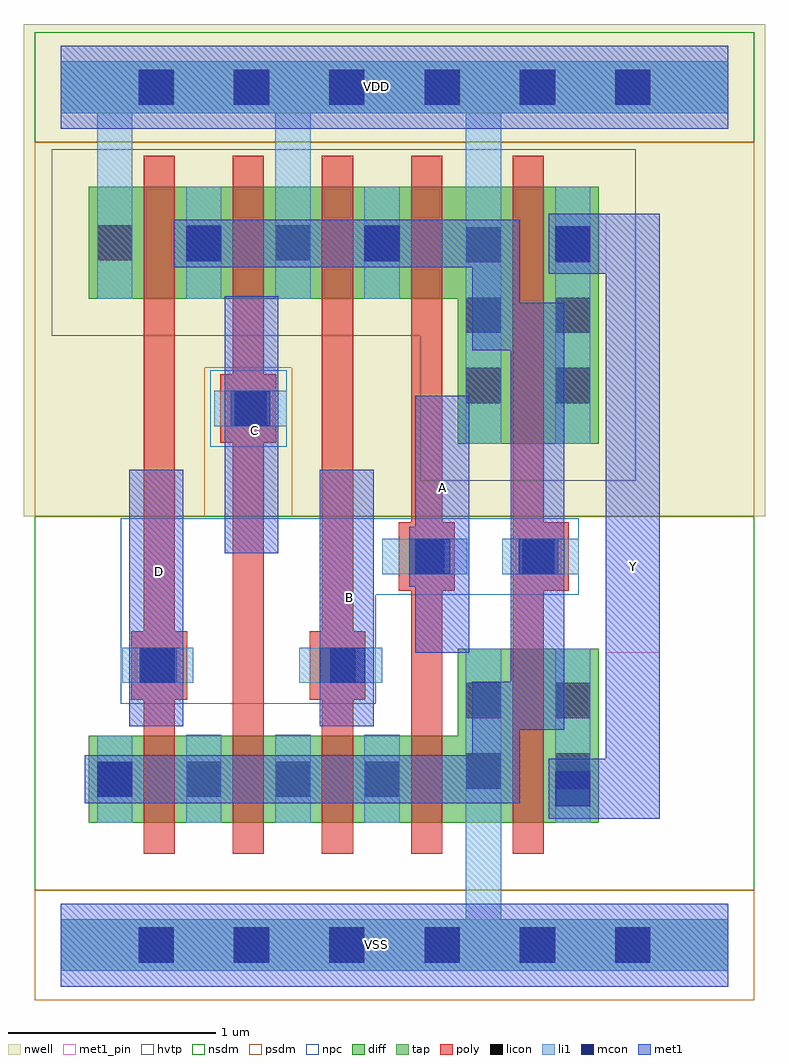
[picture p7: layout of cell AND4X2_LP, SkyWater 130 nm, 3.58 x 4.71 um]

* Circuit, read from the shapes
.subckt AND4X2_LP A B C D VDD VSS Y
XM1 n1 D n2 VSS sky130_fd_pr__nfet_01v8 w=0.42 l=0.15
XM2 n3 C n1 VSS sky130_fd_pr__nfet_01v8 w=0.42 l=0.15
XM3 n4 B n3 VSS sky130_fd_pr__nfet_01v8 w=0.42 l=0.15
XM4 VSS A n4 VSS sky130_fd_pr__nfet_01v8 w=0.42 l=0.15
XM5 Y n2 VSS VSS sky130_fd_pr__nfet_01v8 w=0.84 l=0.15
XM6 n2 D VDD VDD sky130_fd_pr__pfet_01v8_hvt w=0.54 l=0.15
XM7 VDD C n2 VDD sky130_fd_pr__pfet_01v8_hvt w=0.54 l=0.15
XM8 n2 B VDD VDD sky130_fd_pr__pfet_01v8_hvt w=0.54 l=0.15
XM9 VDD A n2 VDD sky130_fd_pr__pfet_01v8_hvt w=0.54 l=0.15
XM10 Y n2 VDD VDD sky130_fd_pr__pfet_01v8_hvt w=1.24 l=0.15
.ends

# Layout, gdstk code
from math import pi, radians
import gdstk
lib = gdstk.Library(unit=1e-6, precision=1e-09)
def R(c, l, rs):  # rectangles x0, y0, x1, y1
    for r in rs: c.add(gdstk.rectangle(r[:2], r[2:], *l))
def A(c, l, x, y, w, h, nx, ny, dx, dy):  # array of equal rectangles
    R(c, l, [(x+i*dx, y+j*dy, x+i*dx+w, y+j*dy+h) for i in range(nx) for j in range(ny)])
def P(c, l, *ps):  # polygons
    for p in ps: c.add(gdstk.Polygon(p, *l))
nwell = (64, 20)
diff = (65, 20)
tap = (65, 44)
poly = (66, 20)
licon = (66, 44)
li1 = (67, 20)
mcon = (67, 44)
met1_pin = (68, 16)
met1 = (68, 20)
hvtp = (78, 44)
nsdm = (93, 44)
psdm = (94, 20)
npc = (95, 20)

l1m1_c_cdns_750721840979 = lib.new_cell('L1M1_C_CDNS_750721840979')
R(l1m1_c_cdns_750721840979, li1, [(-0.165,-0.085,0.165,0.085)])
R(l1m1_c_cdns_750721840979, mcon, [(-0.085,-0.085,0.085,0.085)])
R(l1m1_c_cdns_750721840979, met1, [(-0.085,-0.115,0.085,0.115)])

l1m1_c_cdns_750721840971 = lib.new_cell('L1M1_C_CDNS_7507218409710')
R(l1m1_c_cdns_750721840971, li1, [(-0.085,-0.165,0.085,0.165)])
R(l1m1_c_cdns_750721840971, mcon, [(-0.085,-0.085,0.085,0.085)])
R(l1m1_c_cdns_750721840971, met1, [(-0.145,-0.115,0.145,0.115)])

c_l1m1_c_cdns_750721840971 = lib.new_cell('L1M1_C_CDNS_750721840971')
R(c_l1m1_c_cdns_750721840971, li1, [(-0.085,-0.165,0.085,0.165)])
R(c_l1m1_c_cdns_750721840971, mcon, [(-0.085,-0.085,0.085,0.085)])
R(c_l1m1_c_cdns_750721840971, met1, [(-0.115,-0.145,0.115,0.145)])

pyl1con_c_cdns_750721840 = lib.new_cell('PYL1CON_C_CDNS_750721840972')
R(pyl1con_c_cdns_750721840, poly, [(-0.135,-0.165,0.135,0.165)])
R(pyl1con_c_cdns_750721840, licon, [(-0.085,-0.085,0.085,0.085)])
R(pyl1con_c_cdns_750721840, npc, [(-0.185,-0.185,0.185,0.185)])

l1m1_c_cdns_750721840973 = lib.new_cell('L1M1_C_CDNS_750721840973')
R(l1m1_c_cdns_750721840973, li1, [(-0.165,-0.085,0.165,0.085)])
R(l1m1_c_cdns_750721840973, mcon, [(-0.085,-0.085,0.085,0.085)])
R(l1m1_c_cdns_750721840973, met1, [(-0.115,-0.145,0.115,0.145)])

and4x2_lp = lib.new_cell('AND4X2_LP')
R(and4x2_lp, nwell, [(-0.18,2.07,3.4,4.305), (1.735,2.24,2.775,3.84), (-0.045,2.94,0.785,3.84), (0.425,2.94,1.215,3.84), (0.855,2.94,1.645,3.84), (1.285,2.94,2.095,3.84), (-0.18,3.875,3.4,4.445)])
A(and4x2_lp, diff, 0.4, 0.59, 0.15, 0.42, 4, 1, 0.43, 0)
A(and4x2_lp, diff, 0.55, 0.59, 0.055, 0.42, 3, 1, 0.43, 0)
A(and4x2_lp, diff, 0.605, 0.59, 0.225, 0.42, 3, 1, 0.43, 0)
A(and4x2_lp, diff, 0.4, 3.12, 0.15, 0.54, 4, 1, 0.43, 0)
A(and4x2_lp, diff, 0.55, 3.12, 0.055, 0.54, 3, 1, 0.43, 0)
A(and4x2_lp, diff, 0.605, 3.12, 0.225, 0.54, 3, 1, 0.43, 0)
R(and4x2_lp, diff, [(0.135,0.59,0.4,1.01), (1.84,0.59,1.915,1.01), (1.915,0.59,2.18,1.43), (2.18,0.59,2.33,1.43), (2.33,0.59,2.595,1.43), (1.915,2.42,2.18,3.66), (2.18,2.42,2.33,3.66), (2.33,2.42,2.595,3.66), (0.135,3.12,0.4,3.66), (1.84,3.12,1.915,3.66)])
A(and4x2_lp, poly, 0.4, 0.44, 0.15, 0.055, 4, 2, 0.43, 0.665)
A(and4x2_lp, poly, 0.4, 0.495, 0.15, 0.095, 4, 2, 0.43, 0.515)
A(and4x2_lp, poly, 0.4, 0.59, 0.15, 0.42, 4, 1, 0.43, 0)
A(and4x2_lp, poly, 0.4, 2.97, 0.15, 0.055, 4, 2, 0.43, 0.785)
A(and4x2_lp, poly, 0.4, 3.025, 0.15, 0.095, 4, 2, 0.43, 0.635)
A(and4x2_lp, poly, 0.4, 3.12, 0.15, 0.54, 4, 1, 0.43, 0)
R(and4x2_lp, poly, [(2.18,0.44,2.33,0.495), (2.18,0.495,2.33,0.59), (2.18,0.59,2.33,1.43), (2.18,1.43,2.33,1.525), (2.18,1.525,2.33,1.58), (2.18,2.27,2.33,2.325), (2.18,2.325,2.33,2.42), (2.18,2.42,2.33,3.66), (2.18,3.66,2.33,3.755), (2.18,3.755,2.33,3.81)])
A(and4x2_lp, licon, 0.375, -0.085, 0.17, 0.17, 6, 2, 0.46, 4.14)
A(and4x2_lp, licon, 1.955, 2.615, 0.17, 0.17, 1, 3, 0, 0.34)
A(and4x2_lp, licon, 2.385, 2.615, 0.17, 0.17, 1, 3, 0, 0.34)
A(and4x2_lp, licon, 0.175, 3.305, 0.17, 0.17, 4, 1, 0.43, 0)
R(and4x2_lp, licon, [(0.175,0.715,0.345,0.885), (1.955,0.755,2.125,0.925), (2.385,0.755,2.555,0.925), (1.955,1.095,2.125,1.265), (2.385,1.095,2.555,1.265)])
A(and4x2_lp, li1, 0.175, 3.12, 0.17, 0.54, 4, 1, 0.43, 0)
R(and4x2_lp, li1, [(0.175,0.59,0.345,1.01), (1.955,0.59,2.125,1.43), (2.385,0.59,2.555,1.43), (1.955,2.42,2.125,3.66), (2.385,2.42,2.555,3.66)])
A(and4x2_lp, mcon, 0.375, -0.085, 0.17, 0.17, 6, 2, 0.46, 4.14)
R(and4x2_lp, met1_pin, [(0.33,1.055,0.59,2.295), (1.25,1.055,1.51,2.295), (1.71,1.41,1.97,2.65), (2.63,1.41,2.89,3.53), (0.79,1.89,1.05,3.13)])
R(and4x2_lp, met1, [(2.355,0.61,2.82,0.9), (2.355,3.24,2.82,3.53)])
R(and4x2_lp, hvtp, [(1.735,2.24,2.775,3.84), (-0.045,2.94,0.785,3.84), (0.425,2.94,1.215,3.84), (0.855,2.94,1.645,3.84), (1.285,2.94,2.095,3.84)])
R(and4x2_lp, nsdm, [(-0.125,0.265,3.345,2.07), (-0.005,0.46,0.615,1.14), (0.595,0.46,1.045,1.14), (1.025,0.46,1.475,1.14), (1.455,0.46,1.795,1.14), (1.775,0.46,2.735,1.56), (-0.125,3.875,3.345,4.405), (-0.125,3.93,3.345,4.35)])
R(and4x2_lp, psdm, [(-0.125,-0.265,3.345,0.265), (-0.125,-0.21,3.345,0.21), (1.775,2.29,2.735,3.79), (-0.005,2.99,0.615,3.79), (0.595,2.99,1.045,3.79), (1.025,2.99,1.475,3.79), (1.455,2.99,1.795,3.79)])
P(and4x2_lp, psdm, [(3.345,3.875),(-0.125,3.875),(-0.125,2.07),(0.695,2.07),(0.695,2.785),(1.115,2.785),(1.115,2.07),(3.345,2.07)])
P(and4x2_lp, npc, [(2.44,2.06),(0.29,2.06),(0.29,1.165),(1.52,1.165),(1.52,1.69),(2.44,1.69)])
and4x2_lp.add(gdstk.FlexPath([(0.905,1.16),(0.905,2.97)], 0.15, ends="flush", simple_path=True, layer=66, datatype=20))  # poly
and4x2_lp.add(gdstk.FlexPath([(1.335,1.16),(1.335,2.97)], 0.15, ends="flush", simple_path=True, layer=66, datatype=20))  # poly
and4x2_lp.add(gdstk.FlexPath([(1.765,2.97),(1.765,1.16)], 0.15, ends="flush", simple_path=True, layer=66, datatype=20))  # poly
and4x2_lp.add(gdstk.FlexPath([(2.255,1.5),(2.255,2.27)], 0.15, ends="flush", simple_path=True, layer=66, datatype=20))  # poly
and4x2_lp.add(gdstk.FlexPath([(0.475,1.16),(0.475,2.97)], 0.15, ends="flush", simple_path=True, layer=66, datatype=20))  # poly
and4x2_lp.add(gdstk.FlexPath([(2.04,0.59),(2.04,0)], 0.17, ends=(0, 0.125), simple_path=True, layer=67, datatype=20))  # li1
and4x2_lp.add(gdstk.FlexPath([(0.26,3.55),(0.26,4)], 0.17, ends=(0, 0.125), simple_path=True, layer=67, datatype=20))  # li1
and4x2_lp.add(gdstk.FlexPath([(2.04,3.55),(2.04,4)], 0.17, ends=(0, 0.125), simple_path=True, layer=67, datatype=20))  # li1
and4x2_lp.add(gdstk.FlexPath([(3.135,4.14),(0,4.14)], 0.25, ends=(0.085, 0), simple_path=True, layer=67, datatype=20))  # li1
and4x2_lp.add(gdstk.FlexPath([(3.135,0),(0,0)], 0.25, ends=(0.085, 0), simple_path=True, layer=67, datatype=20))  # li1
and4x2_lp.add(gdstk.FlexPath([(1.545,1.35),(1.2,1.35)], 0.17, ends="flush", simple_path=True, layer=67, datatype=20))  # li1
and4x2_lp.add(gdstk.FlexPath([(1.085,2.59),(0.74,2.59)], 0.17, ends="flush", simple_path=True, layer=67, datatype=20))  # li1
and4x2_lp.add(gdstk.FlexPath([(2.265,1.875),(2.5,1.875)], 0.17, ends="flush", simple_path=True, layer=67, datatype=20))  # li1
and4x2_lp.add(gdstk.FlexPath([(1.12,3.55),(1.12,4)], 0.17, ends=(0, 0.125), simple_path=True, layer=67, datatype=20))  # li1
and4x2_lp.add(gdstk.FlexPath([(1.55,1.35),(1.15,1.35)], 0.17, ends="flush", simple_path=True, layer=67, datatype=20))  # li1
and4x2_lp.add(gdstk.FlexPath([(1.92,1.875),(1.575,1.875)], 0.17, ends="flush", simple_path=True, layer=67, datatype=20))  # li1
and4x2_lp.add(gdstk.FlexPath([(0.69,0.59),(0.69,1.015)], 0.17, ends="flush", simple_path=True, layer=67, datatype=20))  # li1
and4x2_lp.add(gdstk.FlexPath([(1.55,0.59),(1.55,1.015)], 0.17, ends="flush", simple_path=True, layer=67, datatype=20))  # li1
and4x2_lp.add(gdstk.FlexPath([(1.55,1.875),(1.93,1.875)], 0.17, ends="flush", simple_path=True, layer=67, datatype=20))  # li1
and4x2_lp.add(gdstk.FlexPath([(0.64,1.35),(0.295,1.35)], 0.17, ends="flush", simple_path=True, layer=67, datatype=20))  # li1
and4x2_lp.add(gdstk.FlexPath([(1.12,0.59),(1.12,1.015)], 0.17, ends="flush", simple_path=True, layer=67, datatype=20))  # li1
and4x2_lp.add(gdstk.FlexPath([(0.605,0.8),(0.775,0.8)], 0.17, ends="flush", simple_path=True, layer=66, datatype=44))  # licon
and4x2_lp.add(gdstk.FlexPath([(1.465,0.8),(1.635,0.8)], 0.17, ends="flush", simple_path=True, layer=66, datatype=44))  # licon
and4x2_lp.add(gdstk.FlexPath([(1.035,0.8),(1.205,0.8)], 0.17, ends="flush", simple_path=True, layer=66, datatype=44))  # licon
and4x2_lp.add(gdstk.FlexPath([(0,0),(3.22,0)], 0.4, ends="flush", simple_path=True, layer=68, datatype=16))  # met1_pin
and4x2_lp.add(gdstk.FlexPath([(0,4.14),(3.22,4.14)], 0.4, ends="flush", simple_path=True, layer=68, datatype=16))  # met1_pin
and4x2_lp.add(gdstk.FlexPath([(0,0),(3.22,0)], 0.25, ends="flush", simple_path=True, layer=65, datatype=44))  # tap
and4x2_lp.add(gdstk.FlexPath([(0,4.14),(3.22,4.14)], 0.25, ends="flush", simple_path=True, layer=65, datatype=44))  # tap
and4x2_lp.add(gdstk.FlexPath([(0,4.14),(3.22,4.14)], 0.4, ends="flush", simple_path=True, layer=68, datatype=20))  # met1
and4x2_lp.add(gdstk.FlexPath([(2.1,1.155),(2.295,1.155)], 0.23, ends="extended", simple_path=True, layer=68, datatype=20))  # met1
and4x2_lp.add(gdstk.FlexPath([(2.1,2.985),(2.1,3.385)], 0.23, ends="extended", simple_path=True, layer=68, datatype=20))  # met1
and4x2_lp.add(gdstk.FlexPath([(0.25,0.8),(2.215,0.8)], 0.23, ends="flush", simple_path=True, layer=68, datatype=20))  # met1
and4x2_lp.add(gdstk.FlexPath([(2.295,2.985),(2.1,2.985)], 0.23, ends="extended", simple_path=True, layer=68, datatype=20))  # met1
and4x2_lp.add(gdstk.FlexPath([(2.705,0.725),(2.47,0.725)], 0.23, ends="extended", simple_path=True, layer=68, datatype=20))  # met1
and4x2_lp.add(gdstk.FlexPath([(1.84,1.41),(1.84,2.65)], 0.26, ends="flush", simple_path=True, layer=68, datatype=20))  # met1
and4x2_lp.add(gdstk.FlexPath([(0.92,1.89),(0.92,3.13)], 0.26, ends="flush", simple_path=True, layer=68, datatype=20))  # met1
and4x2_lp.add(gdstk.FlexPath([(1.38,1.055),(1.38,2.295)], 0.26, ends="flush", simple_path=True, layer=68, datatype=20))  # met1
and4x2_lp.add(gdstk.FlexPath([(2.3,1.17),(2.3,2.97)], 0.26, ends="extended", simple_path=True, layer=68, datatype=20))  # met1
and4x2_lp.add(gdstk.FlexPath([(0.46,1.055),(0.46,2.295)], 0.26, ends="flush", simple_path=True, layer=68, datatype=20))  # met1
and4x2_lp.add(gdstk.FlexPath([(2.215,3.385),(2.1,3.385)], 0.23, ends=(0, 0.115), simple_path=True, layer=68, datatype=20))  # met1
and4x2_lp.add(gdstk.FlexPath([(2.1,0.8),(2.1,1.155)], 0.23, ends="extended", simple_path=True, layer=68, datatype=20))  # met1
and4x2_lp.add(gdstk.FlexPath([(2.76,3.3),(2.76,0.74)], 0.26, ends=(0, 0.13), simple_path=True, layer=68, datatype=20))  # met1
and4x2_lp.add(gdstk.FlexPath([(2.47,3.415),(2.89,3.415)], 0.23, ends=(0.115, 0), simple_path=True, layer=68, datatype=20))  # met1
and4x2_lp.add(gdstk.FlexPath([(2.1,3.385),(0.835,3.385)], 0.23, ends=(0.115, 0), simple_path=True, layer=68, datatype=20))  # met1
and4x2_lp.add(gdstk.FlexPath([(0,0),(3.22,0)], 0.4, ends="flush", simple_path=True, layer=68, datatype=20))  # met1
and4x2_lp.add(gdstk.Reference(l1m1_c_cdns_750721840979, (2.295,1.875)))
and4x2_lp.add(gdstk.Reference(l1m1_c_cdns_750721840971, (0.26,0.8)))
and4x2_lp.add(gdstk.Reference(l1m1_c_cdns_750721840971, (1.55,3.385), rotation=pi))
and4x2_lp.add(gdstk.Reference(l1m1_c_cdns_750721840971, (0.69,3.385)))
and4x2_lp.add(gdstk.Reference(c_l1m1_c_cdns_750721840971, (2.47,3.385)))
and4x2_lp.add(gdstk.Reference(c_l1m1_c_cdns_750721840971, (2.47,0.755)))
and4x2_lp.add(gdstk.Reference(pyl1con_c_cdns_750721840, (2.315,1.875)))
and4x2_lp.add(gdstk.Reference(pyl1con_c_cdns_750721840, (0.475,1.35)))
and4x2_lp.add(gdstk.Reference(pyl1con_c_cdns_750721840, (0.905,2.59)))
and4x2_lp.add(gdstk.Reference(pyl1con_c_cdns_750721840, (1.335,1.35)))
and4x2_lp.add(gdstk.Reference(pyl1con_c_cdns_750721840, (1.765,1.875)))
and4x2_lp.add(gdstk.Reference(l1m1_c_cdns_750721840973, (0.925,2.59), x_reflection=True))
and4x2_lp.add(gdstk.Reference(l1m1_c_cdns_750721840973, (0.465,1.35), x_reflection=True))
and4x2_lp.add(gdstk.Reference(l1m1_c_cdns_750721840973, (1.795,1.875), x_reflection=True))
and4x2_lp.add(gdstk.Reference(l1m1_c_cdns_750721840973, (1.385,1.35), x_reflection=True))
and4x2_lp.add(gdstk.Label('VDD', (1.525,4.145), layer=68, texttype=5))
and4x2_lp.add(gdstk.Label('Y', (2.765,1.825), layer=68, texttype=5))
and4x2_lp.add(gdstk.Label('B', (1.395,1.675), layer=68, texttype=5))
and4x2_lp.add(gdstk.Label('D', (0.475,1.805), layer=68, texttype=5))
and4x2_lp.add(gdstk.Label('A', (1.84,2.21), layer=68, texttype=5))
and4x2_lp.add(gdstk.Label('VSS', (1.525,0.005), layer=68, texttype=5))
and4x2_lp.add(gdstk.Label('C', (0.935,2.485), layer=68, texttype=5))

lib.write_gds('AND4X2_LP.gds')
